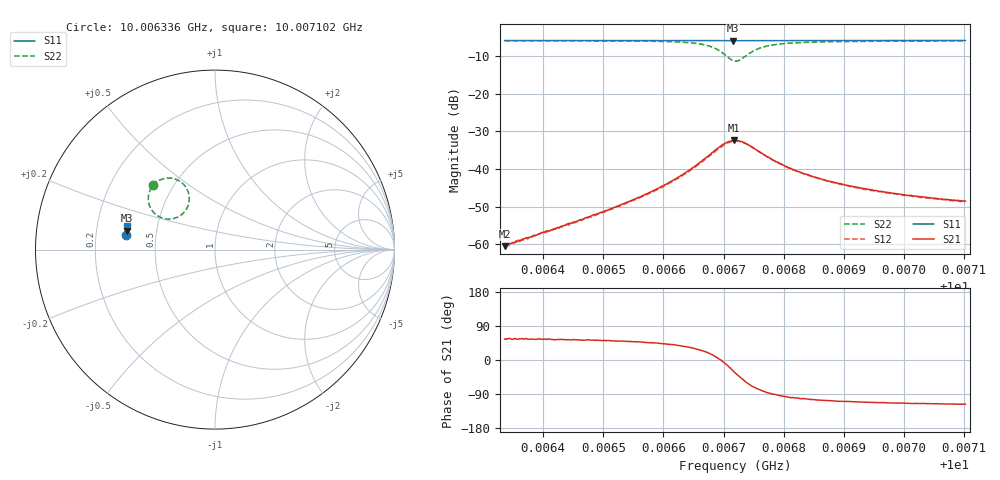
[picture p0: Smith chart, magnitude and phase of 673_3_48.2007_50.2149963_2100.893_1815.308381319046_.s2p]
#  HZ  S  RI  R  50.00
! Rohde & Schwarz Vector Network Analyzer
! Rohde-Schwarz,ZNB20-2Port,1311601062101988,3.16
! Created: UTC 3/20/2024, 12:06:13 PM
! freq[Hz]  re:S11  im:S11  re:S21  im:S21  re:S12  im:S12  re:S22  im:S22
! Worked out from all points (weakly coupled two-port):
!   401 points, 10.006336 GHz to 10.007102 GHz, reference 50 ohm
!   highest |S21| = -32.38 dB at 10.006717 GHz (marker M1); lowest = -60.5 dB at 10.006336 GHz (marker M2)
!   lowest |S11| = -6.0 dB at 10.006715 GHz (marker M3), VSWR 3.02, Z = 16.7 + j4.72 ohm
!   |S11| at or under -10 dB: nowhere
!   |S22| runs from -11.4 to -6.0 dB; largest |S21 - S12| = 0.0021
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1.00063358e10  -0.4973 0.0816  0.000542 0.000778  0.000504 0.000809  -0.3481 0.3589
1.00064642e10  -0.4961 0.0902  0.0013 0.00169  0.00116 0.00173  -0.3333 0.372
1.00065294e10  -0.4953 0.0946  0.00218 0.00256  0.00198 0.00262  -0.3203 0.3809
1.0006562e10  -0.4949 0.0967  0.00288 0.00317  0.00271 0.00323  -0.3103 0.3865
1.00065926e10  -0.4944 0.0988  0.00404 0.00389  0.00375 0.004  -0.297 0.3921
1.00066348e10  -0.4937 0.1016  0.00707 0.00511  0.00662 0.00533  -0.264 0.3986
1.00066712e10  -0.4927 0.1042  0.0133 0.00516  0.0126 0.00562  -0.2054 0.3861
1.00066865e10  -0.4919 0.1049  0.0177 0.00271  0.0167 0.0039  -0.1698 0.3574
1.00066999e10  -0.4914 0.1055  0.0213 -0.00202  0.0205 -0.000627  -0.1452 0.306
1.00067153e10  -0.4909 0.1055  0.0212 -0.011  0.0215 -0.00908  -0.1607 0.2232
1.00067172e10  -0.4909 0.1056  0.0207 -0.0121  0.021 -0.0103  -0.1673 0.2139
1.00067191e10  -0.491 0.1055  0.0199 -0.0133  0.0205 -0.0113  -0.175 0.2052
1.00067268e10  -0.4912 0.1055  0.0168 -0.0163  0.0177 -0.0149  -0.2121 0.1792
1.00067363e10  -0.4915 0.1058  0.012 -0.0183  0.0132 -0.0174  -0.262 0.1701
1.00067498e10  -0.4919 0.1067  0.00618 -0.0179  0.00727 -0.0174  -0.3163 0.1862
1.00067651e10  -0.4922 0.1078  0.00233 -0.0158  0.00317 -0.0155  -0.3496 0.2168
1.00068034e10  -0.492 0.1106  -0.00127 -0.0107  -0.000657 -0.0108  -0.3711 0.2739
1.00068475e10  -0.4919 0.1137  -0.00195 -0.00776  -0.00156 -0.00775  -0.3693 0.3069
1.00069145e10  -0.4912 0.118  -0.00202 -0.00554  -0.00172 -0.00555  -0.3616 0.3316
1.00069759e10  -0.4901 0.1222  -0.00191 -0.00446  -0.00166 -0.0045  -0.3549 0.3441
1.00070276e10  -0.4894 0.1254  -0.00181 -0.0039  -0.00157 -0.00387  -0.3503 0.3515
1.00071023e10  -0.4884 0.1302  -0.00169 -0.00335  -0.00149 -0.00337  -0.3443 0.3596
